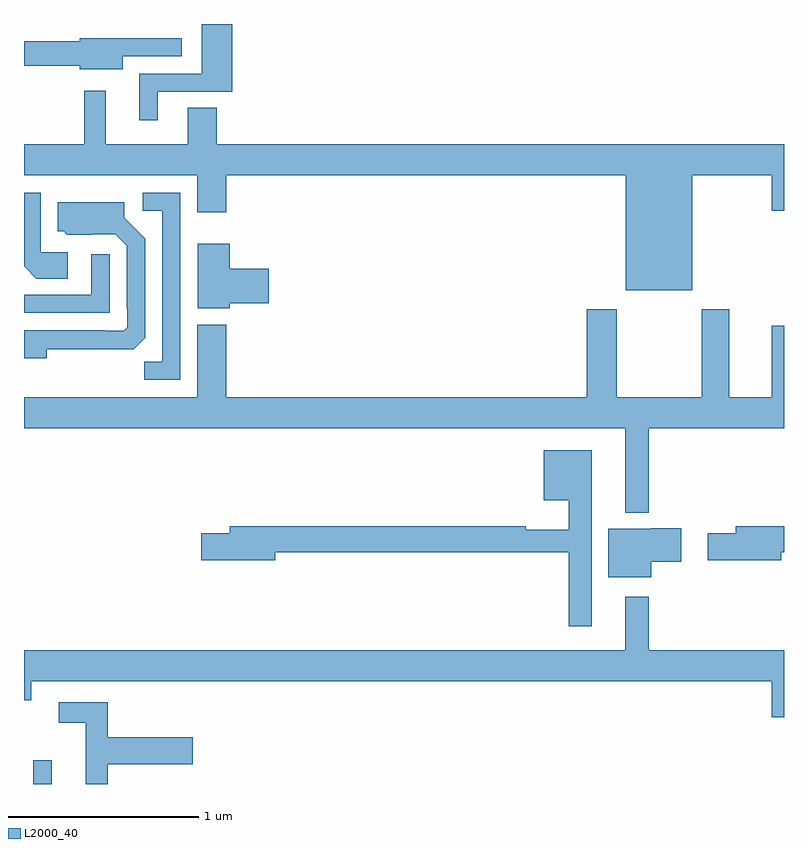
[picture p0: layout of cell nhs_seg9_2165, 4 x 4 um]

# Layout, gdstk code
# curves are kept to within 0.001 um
import gdstk
lib = gdstk.Library(unit=1e-6, precision=1e-09)
def R(c, l, rs):  # rectangles x0, y0, x1, y1
    for r in rs: c.add(gdstk.rectangle(r[:2], r[2:], *l))
def P(c, l, *ps):  # polygons
    for p in ps: c.add(gdstk.Polygon(p, *l))
L2000_40 = (2000, 40)

nhs_seg9_2165 = lib.new_cell('nhs_seg9_2165')
R(nhs_seg9_2165, L2000_40, [(233.049,1242.5,233.145,1242.625)])
P(nhs_seg9_2165, L2000_40, [(233.704,1246.143),(234.095,1246.143),(234.095,1246.5),(233.936,1246.5),(233.936,1246.239),(233.606,1246.239),(233.606,1245.993),(233.704,1245.993)],
  [(233.521,1246.329),(233.83,1246.329),(233.83,1246.425),(233.517,1246.425),(233.517,1246.426),(233.294,1246.426),(233.294,1246.409),(233,1246.409),(233,1246.281),(233.294,1246.281),(233.294,1246.262),(233.521,1246.262)],
  [(236.518,1245.704),(236.936,1245.704),(236.936,1245.516),(237,1245.516),(237,1245.868),(234.014,1245.868),(234.014,1246.058),(233.861,1246.058),(233.861,1245.868),(233.431,1245.868),(233.431,1246.15),(233.317,1246.15),(233.317,1245.868),(233,1245.868),(233,1245.704),(233.912,1245.704),(233.912,1245.51),(234.065,1245.51),(234.065,1245.704),(236.168,1245.704),(236.168,1245.098),(236.518,1245.098)],
  [(233.23,1245.3),(233.088,1245.3),(233.088,1245.612),(233,1245.612),(233,1245.225),(233.065,1245.16),(233.23,1245.16)],
  [(233.823,1245.612),(233.625,1245.612),(233.625,1245.516),(233.727,1245.516),(233.727,1244.723),(233.632,1244.723),(233.632,1244.628),(233.823,1244.628)],
  [(233.121,1244.788),(233.578,1244.789),(233.637,1244.848),(233.637,1245.37),(233.527,1245.48),(233.527,1245.562),(233.177,1245.562),(233.177,1245.408),(233.208,1245.408),(233.224,1245.392),(233.481,1245.393),(233.541,1245.333),(233.541,1245.004),(233.544,1245.004),(233.544,1244.904),(233.526,1244.886),(233.426,1244.886),(233.426,1244.889),(233.002,1244.889),(233.002,1244.742),(233.121,1244.742)],
  [(234.082,1245.029),(234.289,1245.029),(234.289,1245.212),(234.082,1245.212),(234.082,1245.343),(233.915,1245.343),(233.915,1245.005),(234.082,1245.005)],
  [(233.451,1245.289),(233.355,1245.289),(233.355,1245.075),(233,1245.075),(233,1244.979),(233.451,1244.979)],
  [(236.287,1244.372),(237,1244.372),(237,1244.911),(236.936,1244.911),(236.936,1244.536),(236.713,1244.536),(236.713,1244.998),(236.566,1244.998),(236.566,1244.536),(236.121,1244.536),(236.121,1244.998),(235.961,1244.998),(235.961,1244.536),(234.065,1244.536),(234.065,1244.917),(233.912,1244.917),(233.912,1244.536),(233,1244.536),(233,1244.372),(236.165,1244.372),(236.165,1243.928),(236.287,1243.928)],
  [(235.987,1244.257),(235.736,1244.257),(235.736,1243.994),(235.866,1243.994),(235.866,1243.837),(235.64,1243.837),(235.64,1243.856),(234.083,1243.856),(234.083,1243.82),(233.934,1243.82),(233.934,1243.678),(234.322,1243.678),(234.322,1243.72),(235.866,1243.72),(235.866,1243.329),(235.987,1243.329)],
  [(236.986,1243.72),(237,1243.72),(237,1243.856),(236.747,1243.856),(236.747,1243.82),(236.598,1243.82),(236.598,1243.678),(236.986,1243.678)],
  [(236.302,1243.669),(236.458,1243.669),(236.458,1243.847),(236.298,1243.847),(236.298,1243.843),(236.075,1243.843),(236.075,1243.589),(236.302,1243.589)],
  [(237,1243.204),(236.287,1243.204),(236.287,1243.486),(236.165,1243.486),(236.165,1243.204),(233,1243.204),(233,1242.942),(233.038,1242.942),(233.038,1243.04),(236.936,1243.04),(236.936,1242.852),(237,1242.852)],
  [(233.441,1242.605),(233.887,1242.605),(233.887,1242.747),(233.441,1242.747),(233.441,1242.93),(233.184,1242.93),(233.184,1242.822),(233.324,1242.822),(233.324,1242.5),(233.441,1242.5)])

lib.write_gds('nhs_seg9_2165.gds')
